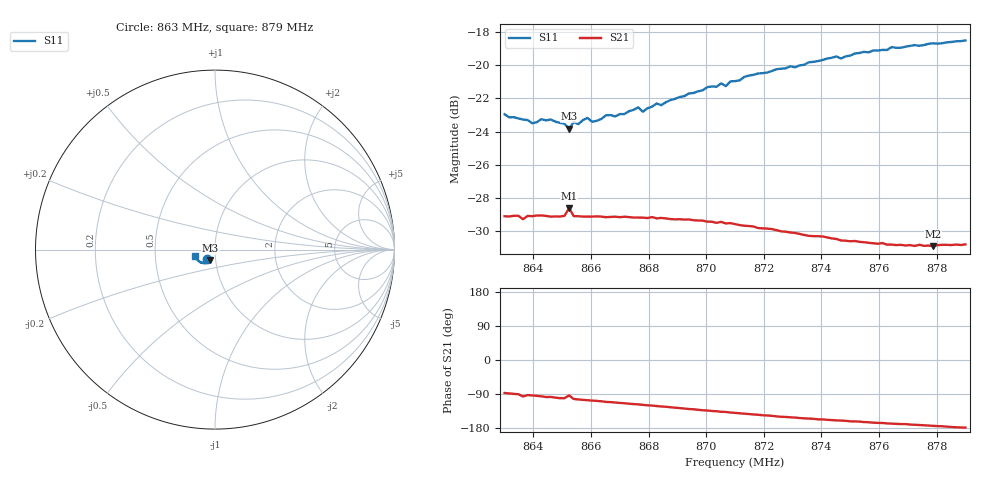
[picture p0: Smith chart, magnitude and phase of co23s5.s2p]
# HZ S RI R 50
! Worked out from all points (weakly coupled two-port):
!   101 points, 863 MHz to 879 MHz, reference 50 ohm
!   highest |S21| = -28.60 dB at 865.24 MHz (marker M1); lowest = -30.9 dB at 877.88 MHz (marker M2)
!   lowest |S11| = -23.8 dB at 865.24 MHz (marker M3), VSWR 1.14, Z = 47.1 - j5.55 ohm
!   |S11| at or under -10 dB: start of sweep to end of sweep
!   S12 and S22 are empty: the file has one direction only
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8.63e8  -0.0451 -0.0551  0.00183 -0.0351  0 0  0 0
8.6364e8  -0.0416 -0.0546  -0.00378 -0.0342  0 0  0 0
8.6396e8  -0.0386 -0.0545  -0.00213 -0.0351  0 0  0 0
8.6428e8  -0.0398 -0.0561  -0.00362 -0.0351  0 0  0 0
8.6492e8  -0.0359 -0.0566  -0.00656 -0.0344  0 0  0 0
8.6508e8  -0.0359 -0.0561  -0.00653 -0.0346  0 0  0 0
8.6524e8  -0.0264 -0.0587  -0.00218 -0.0371  0 0  0 0
8.654e8  -0.035 -0.0576  -0.00791 -0.0343  0 0  0 0
8.6572e8  -0.035 -0.0587  -0.00917 -0.0338  0 0  0 0
8.6604e8  -0.0343 -0.0582  -0.0103 -0.0335  0 0  0 0
8.6764e8  -0.0362 -0.0653  -0.0158 -0.031  0 0  0 0
8.678e8  -0.0357 -0.063  -0.0166 -0.0306  0 0  0 0
8.6828e8  -0.037 -0.0671  -0.0181 -0.0295  0 0  0 0
8.6844e8  -0.0364 -0.0664  -0.0188 -0.0292  0 0  0 0
8.7004e8  -0.0436 -0.074  -0.0232 -0.0246  0 0  0 0
8.7052e8  -0.0475 -0.0742  -0.0246 -0.0232  0 0  0 0
8.7068e8  -0.0467 -0.0727  -0.0245 -0.0227  0 0  0 0
8.71e8  -0.0491 -0.0748  -0.0253 -0.0216  0 0  0 0
8.7372e8  -0.0699 -0.0746  -0.0278 -0.0129  0 0  0 0
8.7644e8  -0.0952 -0.0613  -0.0282 -0.00604  0 0  0 0
8.7788e8  -0.1057 -0.0484  -0.0284 -0.00308  0 0  0 0
8.79e8  -0.1125 -0.0374  -0.0289 -0.000741  0 0  0 0
